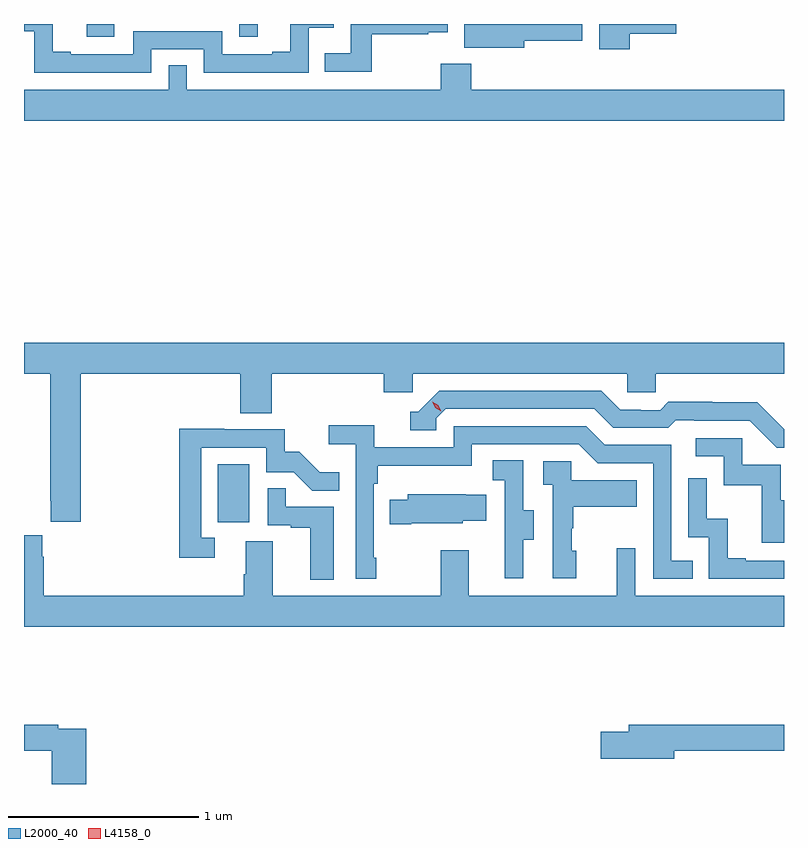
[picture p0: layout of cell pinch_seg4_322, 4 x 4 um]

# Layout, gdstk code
import gdstk
lib = gdstk.Library(unit=1e-6, precision=1e-09)
def R(c, l, rs):  # rectangles x0, y0, x1, y1
    for r in rs: c.add(gdstk.rectangle(r[:2], r[2:], *l))
def P(c, l, *ps):  # polygons
    for p in ps: c.add(gdstk.Polygon(p, *l))
L2000_40 = (2000, 40)
L4158_0 = (4158, 0)

pinch_seg4_322 = lib.new_cell('pinch_seg4_322')
R(pinch_seg4_322, L2000_40, [(900.362,793.374,900.526,793.681), (899.671,795.93,899.815,795.997), (900.474,795.93,900.571,795.997)])
P(pinch_seg4_322, L2000_40, [(901.171,795.942),(901.469,795.942),(901.469,795.953),(901.572,795.953),(901.572,795.997),(901.06,795.997),(901.06,795.844),(900.925,795.844),(900.925,795.747),(901.171,795.747)],
  [(900.012,795.864),(900.288,795.864),(900.288,795.741),(900.84,795.741),(900.84,795.977),(900.972,795.977),(900.972,795.997),(900.743,795.997),(900.743,795.85),(900.647,795.85),(900.647,795.837),(900.384,795.837),(900.384,795.96),(899.916,795.96),(899.916,795.837),(899.587,795.837),(899.587,795.85),(899.492,795.85),(899.492,795.997),(899.341,795.997),(899.341,795.96),(899.394,795.96),(899.394,795.741),(900.012,795.741)],
  [(902.53,795.946),(902.773,795.946),(902.773,795.997),(902.369,795.997),(902.369,795.864),(902.53,795.864)],
  [(901.975,795.91),(902.28,795.91),(902.28,795.997),(901.657,795.997),(901.657,795.872),(901.975,795.872)],
  [(903.341,795.652),(901.694,795.652),(901.694,795.787),(901.534,795.787),(901.534,795.652),(900.198,795.652),(900.198,795.779),(900.102,795.779),(900.102,795.652),(899.341,795.652),(899.341,795.488),(903.341,795.488)],
  [(899.341,794.156),(899.479,794.156),(899.479,793.489),(899.483,793.489),(899.483,793.377),(899.639,793.377),(899.639,794.156),(900.479,794.156),(900.479,793.948),(900.644,793.948),(900.644,794.156),(901.235,794.156),(901.235,794.058),(901.386,794.058),(901.386,794.156),(902.517,794.156),(902.517,794.058),(902.667,794.058),(902.667,794.156),(903.341,794.156),(903.341,794.32),(899.341,794.32)],
  [(903.341,793.864),(903.2,794.005),(902.964,794.005),(902.964,794.008),(902.731,794.008),(902.689,793.965),(902.586,793.965),(902.586,793.968),(902.479,793.968),(902.38,794.067),(901.527,794.067),(901.416,793.956),(901.373,793.956),(901.373,793.86),(901.512,793.86),(901.512,793.923),(901.56,793.971),(902.343,793.971),(902.442,793.872),(902.731,793.872),(902.77,793.911),(902.869,793.911),(902.869,793.908),(903.162,793.908),(903.303,793.767),(903.341,793.767)],
  [(901.195,793.189),(901.182,793.189),(901.182,793.577),(901.202,793.577),(901.202,793.673),(901.698,793.673),(901.698,793.785),(902.262,793.785),(902.361,793.686),(902.652,793.686),(902.652,793.077),(902.861,793.077),(902.861,793.173),(902.748,793.173),(902.748,793.782),(902.398,793.782),(902.299,793.881),(901.602,793.881),(901.602,793.77),(901.184,793.77),(901.184,793.886),(900.945,793.886),(900.945,793.784),(901.086,793.784),(901.086,793.077),(901.195,793.077)],
  [(900.346,793.293),(900.273,793.293),(900.273,793.767),(900.615,793.767),(900.615,793.638),(900.76,793.638),(900.858,793.54),(901.001,793.54),(901.001,793.639),(900.897,793.639),(900.79,793.746),(900.714,793.746),(900.714,793.863),(900.395,793.863),(900.395,793.868),(900.157,793.868),(900.157,793.188),(900.346,793.188)],
  [(903.341,793.491),(903.325,793.491),(903.325,793.677),(903.12,793.677),(903.12,793.818),(902.877,793.818),(902.877,793.722),(903.024,793.722),(903.024,793.569),(903.223,793.569),(903.223,793.266),(903.341,793.266)],
  [(901.969,793.282),(902.023,793.282),(902.023,793.437),(901.968,793.437),(901.968,793.7),(901.809,793.7),(901.809,793.597),(901.872,793.597),(901.872,793.293),(901.871,793.293),(901.871,793.08),(901.969,793.08)],
  [(902.248,793.224),(902.223,793.224),(902.223,793.343),(902.233,793.343),(902.233,793.457),(902.567,793.457),(902.567,793.597),(902.22,793.597),(902.22,793.695),(902.073,793.695),(902.073,793.571),(902.124,793.571),(902.124,793.08),(902.248,793.08)],
  [(903.341,793.173),(903.139,793.173),(903.139,793.186),(903.044,793.186),(903.044,793.394),(902.934,793.394),(902.934,793.606),(902.838,793.606),(902.838,793.296),(902.946,793.296),(902.946,793.077),(903.341,793.077)],
  [(900.97,793.455),(900.719,793.455),(900.719,793.553),(900.624,793.553),(900.624,793.359),(900.745,793.359),(900.745,793.347),(900.848,793.347),(900.848,793.073),(900.97,793.073)],
  [(901.378,793.37),(901.65,793.37),(901.65,793.382),(901.775,793.382),(901.775,793.519),(901.667,793.519),(901.667,793.522),(901.361,793.522),(901.361,793.492),(901.267,793.492),(901.267,793.363),(901.378,793.363)],
  [(903.341,792.988),(902.559,792.988),(902.559,793.237),(902.462,793.237),(902.462,792.988),(901.681,792.988),(901.681,793.228),(901.534,793.228),(901.534,792.988),(900.649,792.988),(900.649,793.274),(900.509,793.274),(900.509,793.1),(900.497,793.1),(900.497,792.988),(899.444,792.988),(899.444,793.193),(899.437,793.193),(899.437,793.306),(899.341,793.306),(899.341,792.824),(903.341,792.824)],
  [(902.764,792.172),(903.341,792.172),(903.341,792.308),(902.525,792.308),(902.525,792.272),(902.376,792.272),(902.376,792.13),(902.764,792.13)],
  [(899.669,792.288),(899.522,792.288),(899.522,792.308),(899.341,792.308),(899.341,792.172),(899.486,792.172),(899.486,791.997),(899.669,791.997)])
P(pinch_seg4_322, L4158_0, [(901.536,793.958),(901.506,793.977),(901.489,794.009),(901.489,794.009),(901.489,794.009),(901.52,793.99),(901.537,793.958),(901.537,793.958)])

lib.write_gds('pinch_seg4_322.gds')
